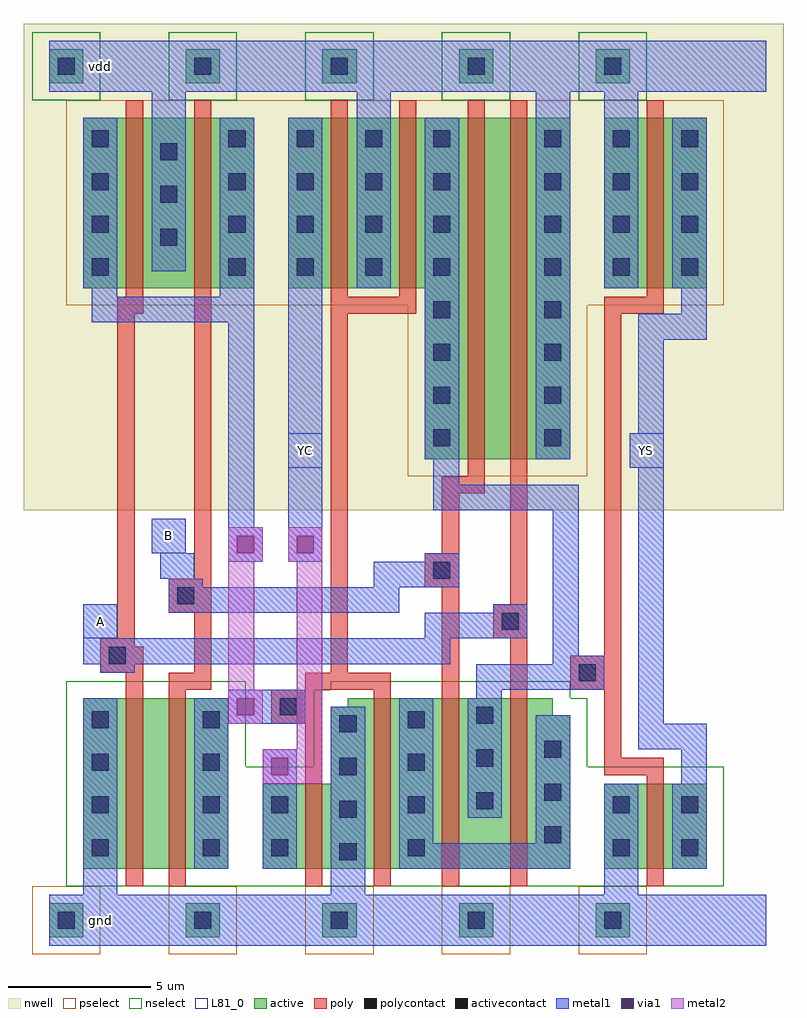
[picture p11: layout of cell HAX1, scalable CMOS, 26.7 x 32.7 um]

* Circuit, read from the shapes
.subckt HAX1 A B YC YS gnd vdd
M1 n1 A gnd gnd nfet w=6u l=0.6u
M2 n2 B n1 gnd nfet w=6u l=0.6u
M3 gnd n2 YC gnd nfet w=3u l=0.6u
M4 n3 n2 gnd gnd nfet w=6u l=0.6u
M5 n4 B n3 gnd nfet w=6u l=0.6u
M6 n3 A n4 gnd nfet w=6u l=0.6u
M7 YS n4 gnd gnd nfet w=3u l=0.6u
M8 vdd A n2 vdd pfet w=6u l=0.6u
M9 n2 B vdd vdd pfet w=6u l=0.6u
M10 vdd n2 YC vdd pfet w=6u l=0.6u
M11 n4 n2 vdd vdd pfet w=6u l=0.6u
M12 n5 B n4 vdd pfet w=12u l=0.6u
M13 vdd A n5 vdd pfet w=12u l=0.6u
M14 YS n4 vdd vdd pfet w=6u l=0.6u
.ends

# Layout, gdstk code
import gdstk
lib = gdstk.Library(unit=1e-6, precision=1e-08)
def R(c, l, rs):  # rectangles x0, y0, x1, y1
    for r in rs: c.add(gdstk.rectangle(r[:2], r[2:], *l))
def A(c, l, x, y, w, h, nx, ny, dx, dy):  # array of equal rectangles
    R(c, l, [(x+i*dx, y+j*dy, x+i*dx+w, y+j*dy+h) for i in range(nx) for j in range(ny)])
nwell = (42, 0)
active = (43, 0)
pselect = (44, 0)
nselect = (45, 0)
poly = (46, 0)
polycontact = (47, 0)
activecontact = (48, 0)
metal1 = (49, 0)
via1 = (50, 0)
metal2 = (51, 0)
L81_0 = (81, 0)

hax1 = lib.new_cell('HAX1')
R(hax1, nwell, [(-1.5,14.4,25.2,31.5)])
A(hax1, active, -0.6, -0.6, 1.2, 1.2, 5, 2, 4.8, 30)
R(hax1, active, [(0.6,1.8,5.7,7.8), (6.9,1.8,17.7,4.8), (18.9,1.8,22.5,4.8), (9.3,4.8,17.7,7.2), (9.3,7.2,17.1,7.5), (9.9,7.5,17.1,7.8), (12.6,16.2,17.7,22.2), (0.6,22.2,6.6,28.2), (7.8,22.2,17.7,28.2), (18.9,22.2,22.5,28.2)])
A(hax1, pselect, -1.2, -1.2, 2.4, 2.4, 5, 1, 4.8, 0)
R(hax1, pselect, [(12,15.6,18.3,21.6), (0,21.6,23.1,28.8)])
A(hax1, nselect, -1.2, 28.8, 2.4, 2.4, 5, 1, 4.8, 0)
R(hax1, nselect, [(0,1.2,23.1,5.4), (0,5.4,6.3,8.4), (8.7,5.4,18.3,7.8), (8.7,7.8,17.7,8.1), (9.3,8.1,17.7,8.4)])
R(hax1, poly, [(2.1,1.2,2.7,8.7), (3.6,1.2,4.2,8.1), (8.4,1.2,9,6.9), (10.8,1.2,11.4,8.1), (13.2,1.2,13.8,11.7), (15.6,1.2,16.2,9.9), (20.4,1.2,21,5.1), (18.9,5.1,21,5.7), (18.9,5.7,19.5,8.1), (7.2,6.9,9,8.1), (3.6,8.1,5.1,8.7), (8.4,8.1,11.4,8.7), (17.7,8.1,19.5,9.3), (1.2,8.7,2.7,9.6), (4.5,8.7,5.1,10.8), (9.3,8.7,9.9,21.3), (18.9,9.3,19.5,21.3), (1.2,9.6,2.4,9.9), (1.8,9.9,2.4,21.3), (15,9.9,16.2,11.1), (3.6,10.8,5.1,12), (15.6,11.1,16.2,28.8), (12.6,11.7,13.8,12.9), (4.5,12,5.1,28.8), (13.2,12.9,13.8,15), (13.2,15,14.7,15.6), (14.1,15.6,14.7,28.8), (1.8,21.3,2.7,21.9), (9.3,21.3,12.3,21.9), (18.9,21.3,21,21.9), (2.1,21.9,2.7,28.8), (9.3,21.9,9.9,28.8), (11.7,21.9,12.3,28.8), (20.4,21.9,21,28.8)])
R(hax1, polycontact, [(7.5,7.2,8.1,7.8), (18,8.4,18.6,9), (1.5,9,2.1,9.6), (15.3,10.2,15.9,10.8), (3.9,11.1,4.5,11.7), (12.9,12,13.5,12.6)])
A(hax1, activecontact, -0.3, -0.3, 0.6, 0.6, 5, 2, 4.8, 30)
A(hax1, activecontact, 9.6, 2.1, 0.6, 0.6, 1, 4, 0, 1.5)
A(hax1, activecontact, 0.9, 2.25, 0.6, 0.6, 1, 4, 0, 1.5)
A(hax1, activecontact, 4.8, 2.25, 0.6, 0.6, 1, 4, 0, 1.5)
A(hax1, activecontact, 12, 2.25, 0.6, 0.6, 1, 4, 0, 1.5)
A(hax1, activecontact, 16.8, 2.7, 0.6, 0.6, 1, 3, 0, 1.5)
A(hax1, activecontact, 14.4, 3.9, 0.6, 0.6, 1, 3, 0, 1.5)
A(hax1, activecontact, 12.9, 16.65, 0.6, 0.6, 1, 4, 0, 1.5)
A(hax1, activecontact, 16.8, 16.65, 0.6, 0.6, 1, 4, 0, 1.5)
A(hax1, activecontact, 0.9, 22.65, 0.6, 0.6, 1, 4, 0, 1.5)
A(hax1, activecontact, 5.7, 22.65, 0.6, 0.6, 4, 4, 2.4, 1.5)
A(hax1, activecontact, 16.8, 22.65, 0.6, 0.6, 3, 4, 2.4, 1.5)
A(hax1, activecontact, 3.3, 23.7, 0.6, 0.6, 1, 3, 0, 1.5)
R(hax1, activecontact, [(7.2,2.25,7.8,2.85), (19.2,2.25,19.8,2.85), (21.6,2.25,22.2,2.85), (7.2,3.75,7.8,4.35), (19.2,3.75,19.8,4.35), (21.6,3.75,22.2,4.35)])
R(hax1, metal1, [(-0.6,-0.9,24.6,0.9), (0.6,0.9,1.8,7.8), (9.3,0.9,10.5,7.5), (18.9,0.9,20.1,4.8), (4.5,1.8,5.7,6.9), (6.9,1.8,8.1,6), (11.7,1.8,17.7,2.7), (21.3,1.8,22.5,4.8), (11.7,2.7,12.9,7.8), (16.5,2.7,17.7,7.2), (14.1,3.6,15.3,7.8), (21.6,4.8,22.5,6), (20.1,6,22.5,6.9), (4.5,6.9,8.4,7.8), (20.1,6.9,21,15.9), (5.7,7.8,8.4,8.1), (14.4,7.8,15.3,8.1), (14.4,8.1,18.9,9), (1.2,8.7,2.4,9), (0.6,9,13.5,9.9), (17.1,9,18.9,9.3), (17.1,9.3,18,14.4), (0.6,9.9,1.8,11.1), (12.6,9.9,16.2,10.8), (3.6,10.8,11.7,11.7), (15,10.8,16.2,11.1), (3.6,11.7,4.8,12), (10.8,11.7,13.8,12.6), (3.3,12,4.5,12.9), (5.7,12.6,6.9,13.8), (7.8,12.6,9,28.2), (12.6,12.6,13.8,12.9), (3,12.9,4.2,14.1), (5.7,13.8,6.6,21), (12.9,14.4,18,15.3), (12.9,15.3,13.8,16.2), (19.8,15.9,21,17.1), (12.6,16.2,13.8,28.2), (16.5,16.2,17.7,29.1), (20.1,17.1,21,20.4), (20.1,20.4,22.5,21.3), (0.9,21,6.6,21.9), (21.6,21.3,22.5,22.2), (0.9,21.9,1.8,22.2), (5.4,21.9,6.6,28.2), (0.6,22.2,1.8,28.2), (10.2,22.2,11.4,29.1), (18.9,22.2,20.1,29.1), (21.3,22.2,22.5,28.2), (3,22.8,4.2,29.1), (-0.6,29.1,24.6,30.9)])
R(hax1, via1, [(7.2,5.1,7.8,5.7), (6,7.2,6.6,7.8), (6,12.9,6.6,13.5), (8.1,12.9,8.7,13.5)])
R(hax1, metal2, [(6.9,4.8,9,6), (8.1,6,9,12.6), (5.7,6.9,6.9,8.1), (5.7,8.1,6.6,12.6), (5.7,12.6,6.9,13.8), (7.8,12.6,9,13.8)])
R(hax1, L81_0, [(0.6,9.9,1.8,11.1), (3,12.9,4.2,14.1), (7.8,15.9,9,17.1), (19.8,15.9,21,17.1)])
hax1.add(gdstk.Label('vdd', (1.2,30), layer=109, texttype=0))
hax1.add(gdstk.Label('gnd', (1.2,0), layer=109, texttype=0))
hax1.add(gdstk.Label('YC', (8.4,16.5), layer=109, texttype=0))
hax1.add(gdstk.Label('A', (1.2,10.5), layer=109, texttype=0))
hax1.add(gdstk.Label('B', (3.6,13.5), layer=109, texttype=0))
hax1.add(gdstk.Label('YS', (20.4,16.5), layer=109, texttype=0))

lib.write_gds('HAX1.gds')
